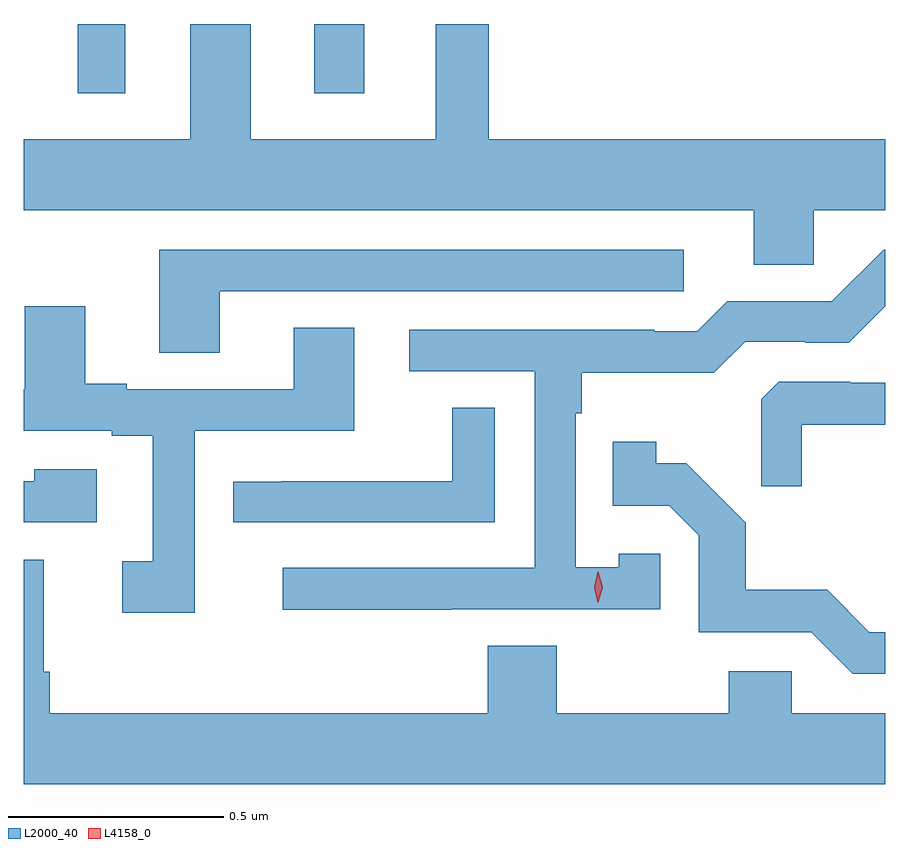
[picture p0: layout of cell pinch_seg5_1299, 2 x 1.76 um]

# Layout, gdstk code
import gdstk
lib = gdstk.Library(unit=1e-6, precision=1e-09)
def R(c, l, rs):  # rectangles x0, y0, x1, y1
    for r in rs: c.add(gdstk.rectangle(r[:2], r[2:], *l))
def P(c, l, *ps):  # polygons
    for p in ps: c.add(gdstk.Polygon(p, *l))
L2000_40 = (2000, 40)
L4158_0 = (4158, 0)

pinch_seg5_1299 = lib.new_cell('pinch_seg5_1299')
R(pinch_seg5_1299, L2000_40, [(435.8,871.683,435.91,871.844), (436.349,871.683,436.465,871.844)])
P(pinch_seg5_1299, L2000_40, [(437.369,871.285),(437.508,871.285),(437.508,871.412),(437.674,871.412),(437.674,871.576),(436.753,871.576),(436.753,871.844),(436.631,871.844),(436.631,871.576),(436.201,871.576),(436.201,871.844),(436.061,871.844),(436.061,871.576),(435.674,871.576),(435.674,871.412),(437.369,871.412)],
  [(436.667,870.486),(437.151,870.486),(437.151,870.615),(437.055,870.615),(437.055,870.583),(436.956,870.583),(436.956,870.941),(436.969,870.941),(436.969,871.034),(437.276,871.034),(437.349,871.107),(437.488,871.107),(437.488,871.104),(437.589,871.104),(437.674,871.189),(437.674,871.32),(437.67,871.32),(437.55,871.2),(437.307,871.2),(437.238,871.131),(437.138,871.131),(437.138,871.134),(436.569,871.134),(436.569,871.038),(436.86,871.038),(436.86,870.582),(436.275,870.582),(436.275,870.484),(436.667,870.484)],
  [(436.129,871.224),(437.206,871.224),(437.206,871.32),(435.989,871.32),(435.989,871.081),(436.129,871.081)],
  [(436.071,870.9),(436.441,870.9),(436.441,871.139),(436.301,871.139),(436.301,870.996),(435.913,870.996),(435.913,871.009),(435.817,871.009),(435.817,871.189),(435.677,871.189),(435.677,870.996),(435.674,870.996),(435.674,870.9),(435.878,870.9),(435.878,870.888),(435.974,870.888),(435.974,870.597),(435.903,870.597),(435.903,870.477),(436.071,870.477)],
  [(437.48,870.914),(437.674,870.914),(437.674,871.011),(437.592,871.011),(437.592,871.014),(437.427,871.014),(437.386,870.973),(437.386,870.771),(437.48,870.771)],
  [(436.767,870.953),(436.669,870.953),(436.669,870.783),(436.273,870.783),(436.273,870.782),(436.161,870.782),(436.161,870.687),(436.767,870.687)],
  [(437.674,870.432),(437.637,870.432),(437.539,870.531),(437.35,870.531),(437.35,870.686),(437.212,870.824),(437.142,870.824),(437.142,870.874),(437.041,870.874),(437.041,870.726),(437.172,870.726),(437.241,870.657),(437.241,870.432),(437.502,870.432),(437.598,870.336),(437.674,870.336)],
  [(435.844,870.811),(435.699,870.811),(435.699,870.783),(435.674,870.783),(435.674,870.687),(435.844,870.687)],
  [(437.674,870.244),(437.457,870.244),(437.457,870.342),(437.311,870.342),(437.311,870.244),(436.911,870.244),(436.911,870.401),(436.751,870.401),(436.751,870.244),(435.734,870.244),(435.734,870.34),(435.721,870.34),(435.721,870.601),(435.674,870.601),(435.674,870.08),(437.674,870.08)])
P(pinch_seg5_1299, L4158_0, [(437.008,870.501),(437.007,870.502),(436.998,870.537),(437.007,870.573),(437.008,870.573),(437.008,870.573),(437.018,870.537),(437.008,870.502)])

lib.write_gds('pinch_seg5_1299.gds')
